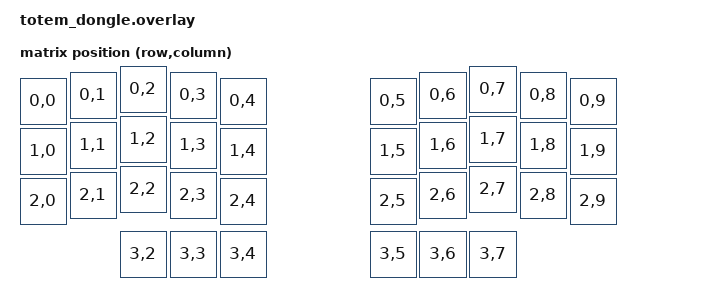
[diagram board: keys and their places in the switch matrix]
/*
 * Copyright (c) 2022 The ZMK Contributors
 *
 * SPDX-License-Identifier: MIT
 *
 * TOTEM dongle: a 3rd XIAO nRF52840 acting as the split CENTRAL, connected to
 * the host over USB. It has no physical keys, so it uses a mock kscan. Both
 * halves are peripherals (see Kconfig.defconfig). The matrix transform below
 * is an EXACT copy of totem.dtsi so key positions from the peripherals line up.
 *
 * A zmk,physical-layout is defined so ZMK Studio (https://studio.zmk.dev) can
 * draw the board and edit the keymap live over USB. Its 36 keys are ordered to
 * match default_transform exactly: row-major (left block then right block per
 * row), then the 3 left thumbs, then the 3 right thumbs. Coordinates are in
 * 1/100 key units (100 = 1u); a mild column stagger is just for a nicer render.
 */

#include <dt-bindings/zmk/matrix_transform.h>
#include <physical_layouts.dtsi>

/ {
    chosen {
        zmk,kscan = &mock_kscan;
        /* No zmk,matrix_transform here: with a physical-layout present, ZMK
         * takes the transform from totem_physical_layout below. */
    };

    mock_kscan: mock_kscan_0 {
        compatible = "zmk,kscan-mock";
        columns = <0>;
        rows = <0>;
        events = <0>;
    };

    default_transform: keymap_transform_0 {
        compatible = "zmk,matrix-transform";
        columns = <10>;
        rows = <4>;
        map = <
                RC(0,0) RC(0,1) RC(0,2) RC(0,3) RC(0,4)    RC(0,5) RC(0,6) RC(0,7) RC(0,8) RC(0,9)
                RC(1,0) RC(1,1) RC(1,2) RC(1,3) RC(1,4)    RC(1,5) RC(1,6) RC(1,7) RC(1,8) RC(1,9)
                RC(2,0) RC(2,1) RC(2,2) RC(2,3) RC(2,4)    RC(2,5) RC(2,6) RC(2,7) RC(2,8) RC(2,9)
                        RC(3,2) RC(3,3) RC(3,4)            RC(3,5) RC(3,6) RC(3,7)
        >;
    };

    totem_physical_layout: totem_physical_layout {
        compatible = "zmk,physical-layout";
        display-name = "TOTEM";
        transform = <&default_transform>;

        keys  //                       w    h    x    y   rot  rx  ry
            = <&key_physical_attrs 100 100    0   24     0   0   0>
            , <&key_physical_attrs 100 100  100   12     0   0   0>
            , <&key_physical_attrs 100 100  200    0     0   0   0>
            , <&key_physical_attrs 100 100  300   12     0   0   0>
            , <&key_physical_attrs 100 100  400   24     0   0   0>
            , <&key_physical_attrs 100 100  700   24     0   0   0>
            , <&key_physical_attrs 100 100  800   12     0   0   0>
            , <&key_physical_attrs 100 100  900    0     0   0   0>
            , <&key_physical_attrs 100 100 1000   12     0   0   0>
            , <&key_physical_attrs 100 100 1100   24     0   0   0>
            , <&key_physical_attrs 100 100    0  124     0   0   0>
            , <&key_physical_attrs 100 100  100  112     0   0   0>
            , <&key_physical_attrs 100 100  200  100     0   0   0>
            , <&key_physical_attrs 100 100  300  112     0   0   0>
            , <&key_physical_attrs 100 100  400  124     0   0   0>
            , <&key_physical_attrs 100 100  700  124     0   0   0>
            , <&key_physical_attrs 100 100  800  112     0   0   0>
            , <&key_physical_attrs 100 100  900  100     0   0   0>
            , <&key_physical_attrs 100 100 1000  112     0   0   0>
            , <&key_physical_attrs 100 100 1100  124     0   0   0>
            , <&key_physical_attrs 100 100    0  224     0   0   0>
            , <&key_physical_attrs 100 100  100  212     0   0   0>
            , <&key_physical_attrs 100 100  200  200     0   0   0>
            , <&key_physical_attrs 100 100  300  212     0   0   0>
            , <&key_physical_attrs 100 100  400  224     0   0   0>
            , <&key_physical_attrs 100 100  700  224     0   0   0>
            , <&key_physical_attrs 100 100  800  212     0   0   0>
            , <&key_physical_attrs 100 100  900  200     0   0   0>
            , <&key_physical_attrs 100 100 1000  212     0   0   0>
            , <&key_physical_attrs 100 100 1100  224     0   0   0>
            , <&key_physical_attrs 100 100  200  330     0   0   0>
            , <&key_physical_attrs 100 100  300  330     0   0   0>
            , <&key_physical_attrs 100 100  400  330     0   0   0>
            , <&key_physical_attrs 100 100  700  330     0   0   0>
            , <&key_physical_attrs 100 100  800  330     0   0   0>
            , <&key_physical_attrs 100 100  900  330     0   0   0>
            ;
    };
};
